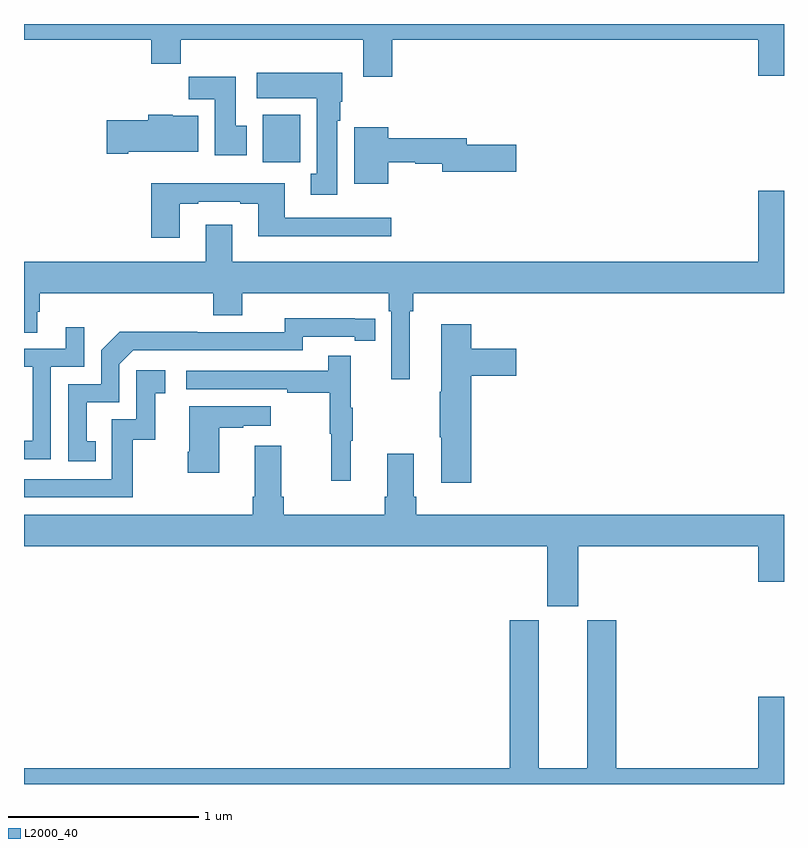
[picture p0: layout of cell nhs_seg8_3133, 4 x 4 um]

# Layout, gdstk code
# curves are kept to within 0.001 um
import gdstk
lib = gdstk.Library(unit=1e-6, precision=1e-09)
def R(c, l, rs):  # rectangles x0, y0, x1, y1
    for r in rs: c.add(gdstk.rectangle(r[:2], r[2:], *l))
def P(c, l, *ps):  # polygons
    for p in ps: c.add(gdstk.Polygon(p, *l))
L2000_40 = (2000, 40)

nhs_seg8_3133 = lib.new_cell('nhs_seg8_3133')
R(nhs_seg8_3133, L2000_40, [(306.257,1133.172,306.453,1133.422)])
P(nhs_seg8_3133, L2000_40, [(306.938,1133.816),(308.864,1133.816),(308.864,1133.628),(309,1133.628),(309,1133.9),(305,1133.9),(305,1133.816),(305.669,1133.816),(305.669,1133.692),(305.825,1133.692),(305.825,1133.816),(306.785,1133.816),(306.785,1133.622),(306.938,1133.622)],
  [(306.649,1133.39),(306.664,1133.39),(306.664,1133.49),(306.676,1133.49),(306.676,1133.644),(306.225,1133.644),(306.225,1133.51),(306.542,1133.51),(306.542,1133.113),(306.509,1133.113),(306.509,1133.001),(306.649,1133.001)],
  [(306.172,1133.364),(306.115,1133.364),(306.115,1133.623),(305.866,1133.623),(305.866,1133.504),(306.005,1133.504),(306.005,1133.208),(306.172,1133.208)],
  [(305.548,1133.228),(305.917,1133.228),(305.917,1133.416),(305.784,1133.416),(305.784,1133.422),(305.654,1133.422),(305.654,1133.394),(305.436,1133.394),(305.436,1133.216),(305.548,1133.216)],
  [(306.916,1133.172),(307.059,1133.172),(307.059,1133.164),(307.202,1133.164),(307.202,1133.122),(307.591,1133.122),(307.591,1133.264),(307.33,1133.264),(307.33,1133.3),(306.916,1133.3),(306.916,1133.356),(306.737,1133.356),(306.737,1133.06),(306.916,1133.06)],
  [(305.821,1132.953),(305.917,1132.953),(305.917,1132.965),(306.137,1132.965),(306.137,1132.953),(306.233,1132.953),(306.233,1132.784),(306.934,1132.784),(306.934,1132.881),(306.373,1132.881),(306.373,1133.062),(305.669,1133.062),(305.669,1132.776),(305.821,1132.776)],
  [(307.03,1132.388),(307.049,1132.388),(307.049,1132.484),(309,1132.484),(309,1133.023),(308.864,1133.023),(308.864,1132.648),(306.097,1132.648),(306.097,1132.843),(305.957,1132.843),(305.957,1132.648),(305,1132.648),(305,1132.276),(305.071,1132.276),(305.071,1132.386),(305.084,1132.386),(305.084,1132.484),(305.996,1132.484),(305.996,1132.367),(306.148,1132.367),(306.148,1132.484),(306.92,1132.484),(306.92,1132.388),(306.933,1132.388),(306.933,1132.029),(307.03,1132.029)],
  [(305.378,1131.705),(305.329,1131.705),(305.329,1131.909),(305.502,1131.909),(305.502,1132.11),(305.574,1132.182),(306.468,1132.182),(306.468,1132.254),(306.74,1132.254),(306.74,1132.234),(306.848,1132.234),(306.848,1132.35),(306.372,1132.351),(306.372,1132.278),(305.912,1132.278),(305.912,1132.28),(305.504,1132.28),(305.406,1132.182),(305.406,1132.005),(305.232,1132.005),(305.232,1131.6),(305.378,1131.6)],
  [(307.355,1132.049),(307.591,1132.049),(307.591,1132.191),(307.355,1132.191),(307.355,1132.321),(307.196,1132.321),(307.196,1131.965),(307.189,1131.965),(307.189,1131.724),(307.196,1131.724),(307.196,1131.486),(307.355,1131.486)],
  [(305.142,1132.095),(305.316,1132.095),(305.316,1132.303),(305.219,1132.303),(305.219,1132.191),(305,1132.191),(305,1132.095),(305.046,1132.095),(305.046,1131.706),(305,1131.706),(305,1131.609),(305.142,1131.609)],
  [(306.719,1131.707),(306.73,1131.707),(306.73,1131.881),(306.719,1131.881),(306.719,1132.153),(306.601,1132.153),(306.601,1132.074),(305.853,1132.074),(305.853,1131.978),(306.385,1131.978),(306.385,1131.958),(306.609,1131.958),(306.609,1131.744),(306.616,1131.744),(306.616,1131.495),(306.719,1131.495)],
  [(305.572,1131.711),(305.69,1131.711),(305.69,1131.957),(305.743,1131.957),(305.743,1132.078),(305.592,1132.078),(305.592,1131.819),(305.463,1131.819),(305.463,1131.504),(305,1131.504),(305,1131.408),(305.572,1131.408)],
  [(306.028,1131.775),(306.155,1131.775),(306.155,1131.785),(306.298,1131.785),(306.298,1131.889),(305.87,1131.889),(305.87,1131.649),(305.863,1131.649),(305.863,1131.537),(306.028,1131.537)],
  [(307.918,1131.152),(308.864,1131.152),(308.864,1130.964),(309,1130.964),(309,1131.316),(307.064,1131.316),(307.064,1131.412),(307.051,1131.412),(307.051,1131.637),(306.911,1131.637),(306.911,1131.412),(306.899,1131.412),(306.899,1131.316),(306.368,1131.316),(306.368,1131.412),(306.355,1131.412),(306.355,1131.679),(306.215,1131.679),(306.215,1131.412),(306.203,1131.412),(306.203,1131.316),(305,1131.316),(305,1131.152),(307.754,1131.152),(307.754,1130.835),(307.918,1130.835)],
  [(309,1130.359),(308.864,1130.359),(308.864,1129.984),(308.117,1129.984),(308.117,1130.763),(307.964,1130.763),(307.964,1129.984),(307.708,1129.984),(307.708,1130.763),(307.556,1130.763),(307.556,1129.984),(305,1129.984),(305,1129.9),(309,1129.9)])

lib.write_gds('nhs_seg8_3133.gds')
